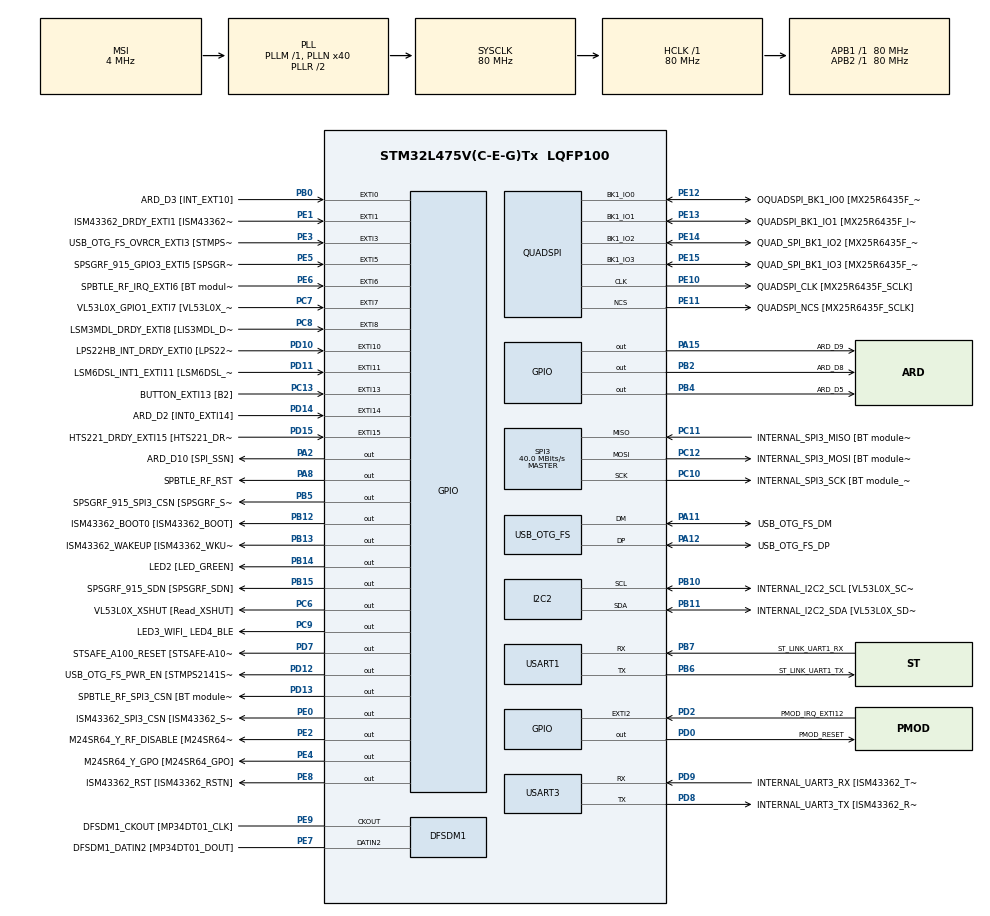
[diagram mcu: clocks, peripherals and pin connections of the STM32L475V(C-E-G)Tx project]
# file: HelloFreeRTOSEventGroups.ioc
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FREERTOS.Tasks01=defaultTask,0,128,StartDefaultTask,Default,NULL,Dynamic,NULL,NULL;myTask02,-3,128,StartTask02,Default,NULL,Dynamic,NULL,NULL
FREERTOS.configTOTAL_HEAP_SIZE=4000
FREERTOS.configUSE_TIMERS=1
Mcu.Family=STM32L4
Mcu.Name=STM32L475V(C-E-G)Tx
Mcu.Package=LQFP100
NVIC.EXTI15_10_IRQn=true\:5\:0\:false\:false\:true\:true\:true\:true
NVIC.EXTI9_5_IRQn=true\:5\:0\:false\:false\:true\:true\:true\:true
NVIC.PriorityGroup=NVIC_PRIORITYGROUP_4
NVIC.TIM1_UP_TIM16_IRQn=true\:15\:0\:false\:false\:true\:false\:false\:true
NVIC.TimeBase=TIM1_UP_TIM16_IRQn
NVIC.TimeBaseIP=TIM1
PA0.GPIO_Label=ARD_D1 [UART4_TX]
PA0.Signal=UART4_TX
PA1.GPIO_Label=ARD_D0 [UART4_RX]
PA1.Signal=UART4_RX
PA10.GPIO_Label=USB_OTG_FS_ID
PA10.Signal=USB_OTG_FS_ID
PA11.GPIO_Label=USB_OTG_FS_DM
PA11.Mode=Device_Only
PA11.Signal=USB_OTG_FS_DM
PA12.GPIO_Label=USB_OTG_FS_DP
PA12.Mode=Device_Only
PA12.Signal=USB_OTG_FS_DP
PA13\ (JTMS-SWDIO).GPIO_Label=SYS_JTMS_SWDIO
PA13\ (JTMS-SWDIO).Mode=Serial_Wire
PA13\ (JTMS-SWDIO).Signal=SYS_JTMS-SWDIO
PA14\ (JTCK-SWCLK).GPIO_Label=SYS_JTCK_SWCLK
PA14\ (JTCK-SWCLK).Mode=Serial_Wire
PA14\ (JTCK-SWCLK).Signal=SYS_JTCK-SWCLK
PA15\ (JTDI).GPIO_Label=ARD_D9
PA15\ (JTDI).Signal=GPIO_Output
PA2.GPIO_Label=ARD_D10 [SPI_SSN]
PA2.Signal=GPIO_Output
PA3.GPIO_Label=ARD_D4
PA3.Signal=S_TIM2_CH4
PA4.GPIO_Label=ARD_D7
PA4.Signal=ADCx_IN9
PA5.GPIO_Label=ARD_D13 [SPI1_SCK]
PA5.Signal=SPI1_SCK
PA6.GPIO_Label=ARD_D12 [SPI1_MISO]
PA6.Signal=SPI1_MISO
PA7.GPIO_Label=ARD_D11 [SPI1_MOSI]
PA7.Signal=SPI1_MOSI
PA8.GPIO_Label=SPBTLE_RF_RST
PA8.Signal=GPIO_Output
PA9.GPIO_Label=USB_OTG_FS_VBUS [STMPS2141STR_OUT]
PA9.Signal=USB_OTG_FS_VBUS
PB0.GPIO_Label=ARD_D3 [INT_EXT10]
PB0.Signal=GPXTI0
PB1.GPIO_Label=ARD_D6 [ADC1_IN6]
PB1.Signal=ADCx_IN16
PB10.GPIO_Label=INTERNAL_I2C2_SCL [VL53L0X_SCL]
PB10.GPIO_Pu=GPIO_PULLUP
PB10.Mode=I2C
PB10.Signal=I2C2_SCL
PB11.GPIO_Label=INTERNAL_I2C2_SDA [VL53L0X_SDA]
PB11.GPIO_Pu=GPIO_PULLUP
PB11.Mode=I2C
PB11.Signal=I2C2_SDA
PB12.GPIO_Label=ISM43362_BOOT0 [ISM43362_BOOT]
PB12.Signal=GPIO_Output
PB13.GPIO_Label=ISM43362_WAKEUP [ISM43362_WKUP]
PB13.Signal=GPIO_Output
PB14.GPIO_Label=LED2 [LED_GREEN]
PB14.Signal=GPIO_Output
PB15.GPIO_Label=SPSGRF_915_SDN [SPSGRF_SDN]
PB15.Signal=GPIO_Output
PB2.GPIO_Label=ARD_D8
PB2.Signal=GPIO_Output
PB3\ (JTDO-TRACESWO).GPIO_Label=SYS_JTD0_SWO
PB3\ (JTDO-TRACESWO).Signal=SYS_JTDO-SWO
PB4\ (NJTRST).GPIO_Label=ARD_D5
PB4\ (NJTRST).Signal=GPIO_Output
PB5.GPIO_Label=SPSGRF_915_SPI3_CSN [SPSGRF_SPI_CS]
PB5.PinState=GPIO_PIN_SET
PB5.Signal=GPIO_Output
PB6.GPIO_Label=ST_LINK_UART1_TX
PB6.Mode=Asynchronous
PB6.Signal=USART1_TX
PB7.GPIO_Label=ST_LINK_UART1_RX
PB7.Mode=Asynchronous
PB7.Signal=USART1_RX
PB8.GPIO_Label=ARD_D15 [I2C1_SCL]
PB8.Signal=I2C1_SCL
PB9.GPIO_Label=ARD_D14 [I2C1_SDA]
PB9.Signal=I2C1_SDA
PC0.GPIO_Label=ARD_A5 [ADC]
PC0.Signal=ADCx_IN1
PC1.GPIO_Label=ARD_A4 [ADC]
PC1.Signal=ADCx_IN2
PC10.GPIO_Label=INTERNAL_SPI3_SCK [BT module_SPI_SCLK] [ISM43362_SCK]
PC10.Mode=Full_Duplex_Master
PC10.Signal=SPI3_SCK
PC11.GPIO_Label=INTERNAL_SPI3_MISO [BT module_SPI_MISO] [ISM43362_MISO]
PC11.Mode=Full_Duplex_Master
PC11.Signal=SPI3_MISO
PC12.GPIO_Label=INTERNAL_SPI3_MOSI [BT module_SPI_MOSI] [ISM43362_MOSI]
PC12.Mode=Full_Duplex_Master
PC12.Signal=SPI3_MOSI
PC13.GPIO_Label=BUTTON_EXTI13 [B2]
PC13.GPIO_ModeDefaultEXTI=GPIO_MODE_IT_FALLING
PC13.Signal=GPXTI13
PC14-OSC32_IN\ (PC14).Mode=LSE-External-Oscillator
PC14-OSC32_IN\ (PC14).Signal=RCC_OSC32_IN
PC15-OSC32_OUT\ (PC15).Mode=LSE-External-Oscillator
PC15-OSC32_OUT\ (PC15).Signal=RCC_OSC32_OUT
PC2.GPIO_Label=ARD_A3 [ADC]
PC2.Signal=ADCx_IN3
PC3.GPIO_Label=ARD_A2 [ADC]
PC3.Signal=ADCx_IN4
PC4.GPIO_Label=ARD_A1 [ADC]
PC4.Signal=ADCx_IN13
PC5.GPIO_Label=ARD_A0 [ADC]
PC5.Signal=ADCx_IN14
PC6.GPIO_Label=VL53L0X_XSHUT [Read_XSHUT]
PC6.Signal=GPIO_Output
PC7.GPIO_Label=VL53L0X_GPIO1_EXTI7 [VL53L0X_GPIO1]
PC7.Signal=GPXTI7
PC8.GPIO_Label=LSM3MDL_DRDY_EXTI8 [LIS3MDL_DRDY]
PC8.Signal=GPXTI8
PC9.GPIO_Label=LED3_WIFI_ LED4_BLE
PC9.Signal=GPIO_Output
PD0.GPIO_Label=PMOD_RESET
PD0.Signal=GPIO_Output
PD1.GPIO_Label=PMOD_SPI2_SCK
PD1.Signal=SPI2_SCK
PD10.GPIO_Label=LPS22HB_INT_DRDY_EXTI0 [LPS22HB_INT_DRDY] 
PD10.Signal=GPXTI10
PD11.GPIO_Label=LSM6DSL_INT1_EXTI11 [LSM6DSL_INT1]
PD11.Signal=GPXTI11
PD12.GPIO_Label=USB_OTG_FS_PWR_EN [STMPS2141STR_EN]
PD12.Signal=GPIO_Output
PD13.GPIO_Label=SPBTLE_RF_SPI3_CSN [BT module_SPI_CS]
PD13.PinState=GPIO_PIN_SET
PD13.Signal=GPIO_Output
PD14.GPIO_Label=ARD_D2 [INT0_EXTI14]
PD14.Signal=GPXTI14
PD15.GPIO_Label=HTS221_DRDY_EXTI15 [HTS221_DRDY]
PD15.Signal=GPXTI15
PD2.GPIO_Label=PMOD_IRQ_EXTI12
PD2.Signal=GPXTI2
PD3.GPIO_Label=PMOD_UART2_CTS
PD3.Signal=USART2_CTS
PD4.GPIO_Label=PMOD_UART2_RTS
PD4.Signal=USART2_RTS
PD5.GPIO_Label=PMOD_UART2_TX
PD5.Signal=USART2_TX
PD6.GPIO_Label=PMOD_UART2_RX
PD6.Signal=USART2_RX
PD7.GPIO_Label=STSAFE_A100_RESET [STSAFE-A100_RESET]
PD7.Signal=GPIO_Output
PD8.GPIO_Label=INTERNAL_UART3_TX [ISM43362_RX]
PD8.Mode=Asynchronous
PD8.Signal=USART3_TX
PD9.GPIO_Label=INTERNAL_UART3_RX [ISM43362_TX]
PD9.Mode=Asynchronous
PD9.Signal=USART3_RX
PE0.GPIO_Label=ISM43362_SPI3_CSN [ISM43362_SSN]
PE0.PinState=GPIO_PIN_SET
PE0.Signal=GPIO_Output
PE1.GPIO_Label=ISM43362_DRDY_EXTI1 [ISM43362_DATARDY]
PE1.Signal=GPXTI1
PE10.GPIO_Label=QUADSPI_CLK [MX25R6435F_SCLK]
PE10.Mode=Single Bank
PE10.Signal=QUADSPI_CLK
PE11.GPIO_Label=QUADSPI_NCS [MX25R6435F_SCLK]
PE11.Mode=Single Bank
PE11.Signal=QUADSPI_NCS
PE12.GPIO_Label=OQUADSPI_BK1_IO0 [MX25R6435F_IO0]
PE12.Mode=Single Bank
PE12.Signal=QUADSPI_BK1_IO0
PE13.GPIO_Label=QUADSPI_BK1_IO1 [MX25R6435F_IO1]
PE13.Mode=Single Bank
PE13.Signal=QUADSPI_BK1_IO1
PE14.GPIO_Label=QUAD_SPI_BK1_IO2 [MX25R6435F_IO2]
PE14.Mode=Single Bank
PE14.Signal=QUADSPI_BK1_IO2
PE15.GPIO_Label=QUAD_SPI_BK1_IO3 [MX25R6435F_IO3]
PE15.Mode=Single Bank
PE15.Signal=QUADSPI_BK1_IO3
PE2.GPIO_Label=M24SR64_Y_RF_DISABLE [M24SR64_RFDIS]
PE2.Signal=GPIO_Output
PE3.GPIO_Label=USB_OTG_FS_OVRCR_EXTI3 [STMPS2141STR_FAULT]
PE3.Signal=GPXTI3
PE4.GPIO_Label=M24SR64_Y_GPO [M24SR64_GPO]
PE4.Signal=GPIO_Output
PE5.GPIO_Label=SPSGRF_915_GPIO3_EXTI5 [SPSGRF_GPIO_3]
PE5.Signal=GPXTI5
PE6.GPIO_Label=SPBTLE_RF_IRQ_EXTI6 [BT module_SPI_IRQ]
PE6.Signal=GPXTI6
PE7.GPIO_Label=DFSDM1_DATIN2 [MP34DT01_DOUT]
PE7.Signal=S_DATAIN2DFSDM1
PE8.GPIO_Label=ISM43362_RST [ISM43362_RSTN]
PE8.Signal=GPIO_Output
PE9.GPIO_Label=DFSDM1_CKOUT [MP34DT01_CLK]
PE9.Signal=S_CKOUTDFSDM1
ProjectManager.HeapSize=0x200
ProjectManager.StackSize=0x400
ProjectManager.TargetToolchain=STM32CubeIDE
QUADSPI.ClockPrescaler=2
QUADSPI.FifoThreshold=4
QUADSPI.FlashSize=23
QUADSPI.SampleShifting=QSPI_SAMPLE_SHIFTING_HALFCYCLE
RCC.ADCFreq_Value=48000000
RCC.AHBFreq_Value=80000000
RCC.APB1Freq_Value=80000000
RCC.APB1TimFreq_Value=80000000
RCC.APB2Freq_Value=80000000
RCC.APB2TimFreq_Value=80000000
RCC.CortexFreq_Value=80000000
RCC.HCLKFreq_Value=80000000
RCC.HSE_VALUE=8000000
RCC.HSI_VALUE=16000000
RCC.MSI_VALUE=4000000
RCC.PLLN=40
RCC.PLLSAI1N=24
RCC.SYSCLKFreq_VALUE=80000000
RCC.SYSCLKSource=RCC_SYSCLKSOURCE_PLLCLK
RCC.USBFreq_Value=48000000
RCC.VCOOutputFreq_Value=160000000
SH.ADCx_IN1.0=ADC1_IN1
SH.ADCx_IN13.0=ADC1_IN13
SH.ADCx_IN14.0=ADC1_IN14
SH.ADCx_IN16.0=ADC1_IN16
SH.ADCx_IN2.0=ADC1_IN2
SH.ADCx_IN3.0=ADC1_IN3
SH.ADCx_IN4.0=ADC1_IN4
SH.ADCx_IN9.0=ADC1_IN9
SH.S_CKOUTDFSDM1.0=DFSDM1_CKOUT,CKOUT
SH.S_CKOUTDFSDM1.1=DFSDM1_CKOUT,PDM_SPI_Input_from_ch12_and_Internal_Clock
SH.S_DATAIN2DFSDM1.0=DFSDM1_DATIN2,PDM_SPI_Input_from_ch12_and_Internal_Clock
SH.S_TIM2_CH4.0=TIM2_CH4
SPI3.CalculateBaudRate=40.0 MBits/s
SPI3.Direction=SPI_DIRECTION_2LINES
SPI3.Mode=SPI_MODE_MASTER
SPI3.VirtualType=VM_MASTER
USART1.VirtualMode-Asynchronous=VM_ASYNC
USART3.VirtualMode-Asynchronous=VM_ASYNC
USB_OTG_FS.VirtualMode=Device_Only
VP_FREERTOS_VS_CMSIS_V1.Mode=CMSIS_V1
VP_SYS_VS_tim1.Mode=TIM1
board=B-L475E-IOT01A1

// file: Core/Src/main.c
/* USER CODE BEGIN Header */
/**
 ******************************************************************************
 * @file           : main.c
 * @brief          : Main program body
 ******************************************************************************
 * @attention
 *
 * <h2><center>&copy; Copyright (c) 2021 STMicroelectronics.
 * All rights reserved.</center></h2>
 *
 * This software component is licensed by ST under BSD 3-Clause license,
 * the "License"; You may not use this file except in compliance with the
 * License. You may obtain a copy of the License at:
 *                        opensource.org/licenses/BSD-3-Clause
 *
 ******************************************************************************
 */
/* USER CODE END Header */
#include "main.h"
#include "cmsis_os.h"

/* USER CODE BEGIN Includes */
#define mainISR_BIT ( 1UL << 0UL )
#define mainTASK_BIT_1 ( 1UL << 1UL )
#define mainTASK_BIT_2 ( 1UL << 2UL )
/* USER CODE END Includes */

DFSDM_Channel_HandleTypeDef hdfsdm1_channel1;

I2C_HandleTypeDef hi2c2;

QSPI_HandleTypeDef hqspi;

SPI_HandleTypeDef hspi3;

UART_HandleTypeDef huart1;
UART_HandleTypeDef huart3;

PCD_HandleTypeDef hpcd_USB_OTG_FS;

osThreadId defaultTaskHandle;
osThreadId myTask02Handle;
/* USER CODE BEGIN PV */
EventGroupHandle_t xEventGroup;
/* USER CODE END PV */

void SystemClock_Config(void);
static void MX_GPIO_Init(void);
static void MX_DFSDM1_Init(void);
static void MX_I2C2_Init(void);
static void MX_QUADSPI_Init(void);
static void MX_SPI3_Init(void);
static void MX_USART1_UART_Init(void);
static void MX_USART3_UART_Init(void);
static void MX_USB_OTG_FS_PCD_Init(void);
void StartDefaultTask(void const *argument);
void StartTask02(void const *argument);

int main(void) {
    /* USER CODE BEGIN 1 */
    xEventGroup = xEventGroupCreate();
    /* USER CODE END 1 */

    /* MCU Configuration--------------------------------------------------------*/

    /* Reset of all peripherals, Initializes the Flash interface and the Systick. */
    HAL_Init();

    /* Configure the system clock */
    SystemClock_Config();

    /* Initialize all configured peripherals */
    MX_GPIO_Init();
    MX_DFSDM1_Init();
    MX_I2C2_Init();
    MX_QUADSPI_Init();
    MX_SPI3_Init();
    MX_USART1_UART_Init();
    MX_USART3_UART_Init();
    MX_USB_OTG_FS_PCD_Init();

    /* Create the thread(s) */
    /* definition and creation of defaultTask */
    osThreadDef(defaultTask, StartDefaultTask, osPriorityNormal, 0, 128);
    defaultTaskHandle = osThreadCreate(osThread(defaultTask), NULL);

    /* definition and creation of myTask02 */
    osThreadDef(myTask02, StartTask02, osPriorityIdle, 0, 128);
    myTask02Handle = osThreadCreate(osThread(myTask02), NULL);

    /* Start scheduler */
    osKernelStart();

    /* We should never get here as control is now taken by the scheduler */
    /* Infinite loop */
    while (1) {

    }
}

void SystemClock_Config(void) {
    RCC_OscInitTypeDef RCC_OscInitStruct = { 0 };
    RCC_ClkInitTypeDef RCC_ClkInitStruct = { 0 };

    /** Configure the main internal regulator output voltage
     */
    if (HAL_PWREx_ControlVoltageScaling(PWR_REGULATOR_VOLTAGE_SCALE1) != HAL_OK) {
        Error_Handler();
    }
    /** Configure LSE Drive Capability
     */
    HAL_PWR_EnableBkUpAccess();
    __HAL_RCC_LSEDRIVE_CONFIG(RCC_LSEDRIVE_LOW);
    /** Initializes the RCC Oscillators according to the specified parameters
     * in the RCC_OscInitTypeDef structure.
     */
    RCC_OscInitStruct.OscillatorType = RCC_OSCILLATORTYPE_LSE | RCC_OSCILLATORTYPE_MSI;
    RCC_OscInitStruct.LSEState = RCC_LSE_ON;
    RCC_OscInitStruct.MSIState = RCC_MSI_ON;
    RCC_OscInitStruct.MSICalibrationValue = 0;
    RCC_OscInitStruct.MSIClockRange = RCC_MSIRANGE_6;
    RCC_OscInitStruct.PLL.PLLState = RCC_PLL_ON;
    RCC_OscInitStruct.PLL.PLLSource = RCC_PLLSOURCE_MSI;
    RCC_OscInitStruct.PLL.PLLM = 1;
    RCC_OscInitStruct.PLL.PLLN = 40;
    RCC_OscInitStruct.PLL.PLLP = RCC_PLLP_DIV7;
    RCC_OscInitStruct.PLL.PLLQ = RCC_PLLQ_DIV2;
    RCC_OscInitStruct.PLL.PLLR = RCC_PLLR_DIV2;
    if (HAL_RCC_OscConfig(&RCC_OscInitStruct) != HAL_OK) {
        Error_Handler();
    }
    /** Initializes the CPU, AHB and APB buses clocks
     */
    RCC_ClkInitStruct.ClockType = RCC_CLOCKTYPE_HCLK | RCC_CLOCKTYPE_SYSCLK | RCC_CLOCKTYPE_PCLK1 | RCC_CLOCKTYPE_PCLK2;
    RCC_ClkInitStruct.SYSCLKSource = RCC_SYSCLKSOURCE_PLLCLK;
    RCC_ClkInitStruct.AHBCLKDivider = RCC_SYSCLK_DIV1;
    RCC_ClkInitStruct.APB1CLKDivider = RCC_HCLK_DIV1;
    RCC_ClkInitStruct.APB2CLKDivider = RCC_HCLK_DIV1;

    if (HAL_RCC_ClockConfig(&RCC_ClkInitStruct, FLASH_LATENCY_4) != HAL_OK) {
        Error_Handler();
    }
    /** Enable MSI Auto calibration
     */
    HAL_RCCEx_EnableMSIPLLMode();
}

static void MX_DFSDM1_Init(void) {

    hdfsdm1_channel1.Instance = DFSDM1_Channel1;
    hdfsdm1_channel1.Init.OutputClock.Activation = ENABLE;
    hdfsdm1_channel1.Init.OutputClock.Selection = DFSDM_CHANNEL_OUTPUT_CLOCK_SYSTEM;
    hdfsdm1_channel1.Init.OutputClock.Divider = 2;
    hdfsdm1_channel1.Init.Input.Multiplexer = DFSDM_CHANNEL_EXTERNAL_INPUTS;
    hdfsdm1_channel1.Init.Input.DataPacking = DFSDM_CHANNEL_STANDARD_MODE;
    hdfsdm1_channel1.Init.Input.Pins = DFSDM_CHANNEL_FOLLOWING_CHANNEL_PINS;
    hdfsdm1_channel1.Init.SerialInterface.Type = DFSDM_CHANNEL_SPI_RISING;
    hdfsdm1_channel1.Init.SerialInterface.SpiClock = DFSDM_CHANNEL_SPI_CLOCK_INTERNAL;
    hdfsdm1_channel1.Init.Awd.FilterOrder = DFSDM_CHANNEL_FASTSINC_ORDER;
    hdfsdm1_channel1.Init.Awd.Oversampling = 1;
    hdfsdm1_channel1.Init.Offset = 0;
    hdfsdm1_channel1.Init.RightBitShift = 0x00;
    if (HAL_DFSDM_ChannelInit(&hdfsdm1_channel1) != HAL_OK) {
        Error_Handler();
    }

}

static void MX_I2C2_Init(void) {

    hi2c2.Instance = I2C2;
    hi2c2.Init.Timing = 0x00000E14;
    hi2c2.Init.OwnAddress1 = 0;
    hi2c2.Init.AddressingMode = I2C_ADDRESSINGMODE_7BIT;
    hi2c2.Init.DualAddressMode = I2C_DUALADDRESS_DISABLE;
    hi2c2.Init.OwnAddress2 = 0;
    hi2c2.Init.OwnAddress2Masks = I2C_OA2_NOMASK;
    hi2c2.Init.GeneralCallMode = I2C_GENERALCALL_DISABLE;
    hi2c2.Init.NoStretchMode = I2C_NOSTRETCH_DISABLE;
    if (HAL_I2C_Init(&hi2c2) != HAL_OK) {
        Error_Handler();
    }
    /** Configure Analogue filter
     */
    if (HAL_I2CEx_ConfigAnalogFilter(&hi2c2, I2C_ANALOGFILTER_ENABLE) != HAL_OK) {
        Error_Handler();
    }
    /** Configure Digital filter
     */
    if (HAL_I2CEx_ConfigDigitalFilter(&hi2c2, 0) != HAL_OK) {
        Error_Handler();
    }

}

static void MX_QUADSPI_Init(void) {

    /* QUADSPI parameter configuration*/
    hqspi.Instance = QUADSPI;
    hqspi.Init.ClockPrescaler = 2;
    hqspi.Init.FifoThreshold = 4;
    hqspi.Init.SampleShifting = QSPI_SAMPLE_SHIFTING_HALFCYCLE;
    hqspi.Init.FlashSize = 23;
    hqspi.Init.ChipSelectHighTime = QSPI_CS_HIGH_TIME_1_CYCLE;
    hqspi.Init.ClockMode = QSPI_CLOCK_MODE_0;
    if (HAL_QSPI_Init(&hqspi) != HAL_OK) {
        Error_Handler();
    }

}

static void MX_SPI3_Init(void) {

    /* SPI3 parameter configuration*/
    hspi3.Instance = SPI3;
    hspi3.Init.Mode = SPI_MODE_MASTER;
    hspi3.Init.Direction = SPI_DIRECTION_2LINES;
    hspi3.Init.DataSize = SPI_DATASIZE_4BIT;
    hspi3.Init.CLKPolarity = SPI_POLARITY_LOW;
    hspi3.Init.CLKPhase = SPI_PHASE_1EDGE;
    hspi3.Init.NSS = SPI_NSS_SOFT;
    hspi3.Init.BaudRatePrescaler = SPI_BAUDRATEPRESCALER_2;
    hspi3.Init.FirstBit = SPI_FIRSTBIT_MSB;
    hspi3.Init.TIMode = SPI_TIMODE_DISABLE;
    hspi3.Init.CRCCalculation = SPI_CRCCALCULATION_DISABLE;
    hspi3.Init.CRCPolynomial = 7;
    hspi3.Init.CRCLength = SPI_CRC_LENGTH_DATASIZE;
    hspi3.Init.NSSPMode = SPI_NSS_PULSE_ENABLE;
    if (HAL_SPI_Init(&hspi3) != HAL_OK) {
        Error_Handler();
    }

}

static void MX_USART1_UART_Init(void) {

    huart1.Instance = USART1;
    huart1.Init.BaudRate = 115200;
    huart1.Init.WordLength = UART_WORDLENGTH_8B;
    huart1.Init.StopBits = UART_STOPBITS_1;
    huart1.Init.Parity = UART_PARITY_NONE;
    huart1.Init.Mode = UART_MODE_TX_RX;
    huart1.Init.HwFlowCtl = UART_HWCONTROL_NONE;
    huart1.Init.OverSampling = UART_OVERSAMPLING_16;
    huart1.Init.OneBitSampling = UART_ONE_BIT_SAMPLE_DISABLE;
    huart1.AdvancedInit.AdvFeatureInit = UART_ADVFEATURE_NO_INIT;
    if (HAL_UART_Init(&huart1) != HAL_OK) {
        Error_Handler();
    }

}

static void MX_USART3_UART_Init(void) {

    huart3.Instance = USART3;
    huart3.Init.BaudRate = 115200;
    huart3.Init.WordLength = UART_WORDLENGTH_8B;
    huart3.Init.StopBits = UART_STOPBITS_1;
    huart3.Init.Parity = UART_PARITY_NONE;
    huart3.Init.Mode = UART_MODE_TX_RX;
    huart3.Init.HwFlowCtl = UART_HWCONTROL_NONE;
    huart3.Init.OverSampling = UART_OVERSAMPLING_16;
    huart3.Init.OneBitSampling = UART_ONE_BIT_SAMPLE_DISABLE;
    huart3.AdvancedInit.AdvFeatureInit = UART_ADVFEATURE_NO_INIT;
    if (HAL_UART_Init(&huart3) != HAL_OK) {
        Error_Handler();
    }

}

static void MX_USB_OTG_FS_PCD_Init(void) {

    hpcd_USB_OTG_FS.Instance = USB_OTG_FS;
    hpcd_USB_OTG_FS.Init.dev_endpoints = 6;
    hpcd_USB_OTG_FS.Init.speed = PCD_SPEED_FULL;
    hpcd_USB_OTG_FS.Init.phy_itface = PCD_PHY_EMBEDDED;
    hpcd_USB_OTG_FS.Init.Sof_enable = DISABLE;
    hpcd_USB_OTG_FS.Init.low_power_enable = DISABLE;
    hpcd_USB_OTG_FS.Init.lpm_enable = DISABLE;
    hpcd_USB_OTG_FS.Init.battery_charging_enable = DISABLE;
    hpcd_USB_OTG_FS.Init.use_dedicated_ep1 = DISABLE;
    hpcd_USB_OTG_FS.Init.vbus_sensing_enable = DISABLE;
    if (HAL_PCD_Init(&hpcd_USB_OTG_FS) != HAL_OK) {
        Error_Handler();
    }

}

static void MX_GPIO_Init(void) {
    GPIO_InitTypeDef GPIO_InitStruct = { 0 };

    /* GPIO Ports Clock Enable */
    __HAL_RCC_GPIOE_CLK_ENABLE();
    __HAL_RCC_GPIOC_CLK_ENABLE();
    __HAL_RCC_GPIOA_CLK_ENABLE();
    __HAL_RCC_GPIOB_CLK_ENABLE();
    __HAL_RCC_GPIOD_CLK_ENABLE();

    /*Configure GPIO pin Output Level */
    HAL_GPIO_WritePin(GPIOE, M24SR64_Y_RF_DISABLE_Pin | M24SR64_Y_GPO_Pin | ISM43362_RST_Pin, GPIO_PIN_RESET);

    /*Configure GPIO pin Output Level */
    HAL_GPIO_WritePin(GPIOA, ARD_D10_Pin | SPBTLE_RF_RST_Pin | ARD_D9_Pin, GPIO_PIN_RESET);

    /*Configure GPIO pin Output Level */
    HAL_GPIO_WritePin(GPIOB,
    ARD_D8_Pin | ISM43362_BOOT0_Pin | ISM43362_WAKEUP_Pin | LED2_Pin | SPSGRF_915_SDN_Pin | ARD_D5_Pin, GPIO_PIN_RESET);

    /*Configure GPIO pin Output Level */
    HAL_GPIO_WritePin(GPIOD, USB_OTG_FS_PWR_EN_Pin | PMOD_RESET_Pin | STSAFE_A100_RESET_Pin, GPIO_PIN_RESET);

    /*Configure GPIO pin Output Level */
    HAL_GPIO_WritePin(SPBTLE_RF_SPI3_CSN_GPIO_Port, SPBTLE_RF_SPI3_CSN_Pin, GPIO_PIN_SET);

    /*Configure GPIO pin Output Level */
    HAL_GPIO_WritePin(GPIOC, VL53L0X_XSHUT_Pin | LED3_WIFI__LED4_BLE_Pin, GPIO_PIN_RESET);

    /*Configure GPIO pin Output Level */
    HAL_GPIO_WritePin(SPSGRF_915_SPI3_CSN_GPIO_Port, SPSGRF_915_SPI3_CSN_Pin, GPIO_PIN_SET);

    /*Configure GPIO pin Output Level */
    HAL_GPIO_WritePin(ISM43362_SPI3_CSN_GPIO_Port, ISM43362_SPI3_CSN_Pin, GPIO_PIN_SET);

    /*Configure GPIO pins : M24SR64_Y_RF_DISABLE_Pin M24SR64_Y_GPO_Pin ISM43362_RST_Pin ISM43362_SPI3_CSN_Pin */
    GPIO_InitStruct.Pin = M24SR64_Y_RF_DISABLE_Pin | M24SR64_Y_GPO_Pin | ISM43362_RST_Pin | ISM43362_SPI3_CSN_Pin;
    GPIO_InitStruct.Mode = GPIO_MODE_OUTPUT_PP;
    GPIO_InitStruct.Pull = GPIO_NOPULL;
    GPIO_InitStruct.Speed = GPIO_SPEED_FREQ_LOW;
    HAL_GPIO_Init(GPIOE, &GPIO_InitStruct);

    /*Configure GPIO pins : USB_OTG_FS_OVRCR_EXTI3_Pin SPSGRF_915_GPIO3_EXTI5_Pin SPBTLE_RF_IRQ_EXTI6_Pin ISM43362_DRDY_EXTI1_Pin */
    GPIO_InitStruct.Pin = USB_OTG_FS_OVRCR_EXTI3_Pin | SPSGRF_915_GPIO3_EXTI5_Pin | SPBTLE_RF_IRQ_EXTI6_Pin
            | ISM43362_DRDY_EXTI1_Pin;
    GPIO_InitStruct.Mode = GPIO_MODE_IT_RISING;
    GPIO_InitStruct.Pull = GPIO_NOPULL;
    HAL_GPIO_Init(GPIOE, &GPIO_InitStruct);

    /*Configure GPIO pin : BUTTON_EXTI13_Pin */
    GPIO_InitStruct.Pin = BUTTON_EXTI13_Pin;
    GPIO_InitStruct.Mode = GPIO_MODE_IT_FALLING;
    GPIO_InitStruct.Pull = GPIO_NOPULL;
    HAL_GPIO_Init(BUTTON_EXTI13_GPIO_Port, &GPIO_InitStruct);

    /*Configure GPIO pins : ARD_A5_Pin ARD_A4_Pin ARD_A3_Pin ARD_A2_Pin
     ARD_A1_Pin ARD_A0_Pin */
    GPIO_InitStruct.Pin = ARD_A5_Pin | ARD_A4_Pin | ARD_A3_Pin | ARD_A2_Pin | ARD_A1_Pin | ARD_A0_Pin;
    GPIO_InitStruct.Mode = GPIO_MODE_ANALOG_ADC_CONTROL;
    GPIO_InitStruct.Pull = GPIO_NOPULL;
    HAL_GPIO_Init(GPIOC, &GPIO_InitStruct);

    /*Configure GPIO pins : ARD_D1_Pin ARD_D0_Pin */
    GPIO_InitStruct.Pin = ARD_D1_Pin | ARD_D0_Pin;
    GPIO_InitStruct.Mode = GPIO_MODE_AF_PP;
    GPIO_InitStruct.Pull = GPIO_NOPULL;
    GPIO_InitStruct.Speed = GPIO_SPEED_FREQ_VERY_HIGH;
    GPIO_InitStruct.Alternate = GPIO_AF8_UART4;
    HAL_GPIO_Init(GPIOA, &GPIO_InitStruct);

    /*Configure GPIO pins : ARD_D10_Pin SPBTLE_RF_RST_Pin ARD_D9_Pin */
    GPIO_InitStruct.Pin = ARD_D10_Pin | SPBTLE_RF_RST_Pin | ARD_D9_Pin;
    GPIO_InitStruct.Mode = GPIO_MODE_OUTPUT_PP;
    GPIO_InitStruct.Pull = GPIO_NOPULL;
    GPIO_InitStruct.Speed = GPIO_SPEED_FREQ_LOW;
    HAL_GPIO_Init(GPIOA, &GPIO_InitStruct);

    /*Configure GPIO pin : ARD_D4_Pin */
    GPIO_InitStruct.Pin = ARD_D4_Pin;
    GPIO_InitStruct.Mode = GPIO_MODE_AF_PP;
    GPIO_InitStruct.Pull = GPIO_NOPULL;
    GPIO_InitStruct.Speed = GPIO_SPEED_FREQ_LOW;
    GPIO_InitStruct.Alternate = GPIO_AF1_TIM2;
    HAL_GPIO_Init(ARD_D4_GPIO_Port, &GPIO_InitStruct);

    /*Configure GPIO pin : ARD_D7_Pin */
    GPIO_InitStruct.Pin = ARD_D7_Pin;
    GPIO_InitStruct.Mode = GPIO_MODE_ANALOG_ADC_CONTROL;
    GPIO_InitStruct.Pull = GPIO_NOPULL;
    HAL_GPIO_Init(ARD_D7_GPIO_Port, &GPIO_InitStruct);

    /*Configure GPIO pins : ARD_D13_Pin ARD_D12_Pin ARD_D11_Pin */
    GPIO_InitStruct.Pin = ARD_D13_Pin | ARD_D12_Pin | ARD_D11_Pin;
    GPIO_InitStruct.Mode = GPIO_MODE_AF_PP;
    GPIO_InitStruct.Pull = GPIO_NOPULL;
    GPIO_InitStruct.Speed = GPIO_SPEED_FREQ_VERY_HIGH;
    GPIO_InitStruct.Alternate = GPIO_AF5_SPI1;
    HAL_GPIO_Init(GPIOA, &GPIO_InitStruct);

    /*Configure GPIO pin : ARD_D3_Pin */
    GPIO_InitStruct.Pin = ARD_D3_Pin;
    GPIO_InitStruct.Mode = GPIO_MODE_IT_RISING;
    GPIO_InitStruct.Pull = GPIO_NOPULL;
    HAL_GPIO_Init(ARD_D3_GPIO_Port, &GPIO_InitStruct);

    /*Configure GPIO pin : ARD_D6_Pin */
    GPIO_InitStruct.Pin = ARD_D6_Pin;
    GPIO_InitStruct.Mode = GPIO_MODE_ANALOG_ADC_CONTROL;
    GPIO_InitStruct.Pull = GPIO_NOPULL;
    HAL_GPIO_Init(ARD_D6_GPIO_Port, &GPIO_InitStruct);

    /*Configure GPIO pins : ARD_D8_Pin ISM43362_BOOT0_Pin ISM43362_WAKEUP_Pin LED2_Pin
     SPSGRF_915_SDN_Pin ARD_D5_Pin SPSGRF_915_SPI3_CSN_Pin */
    GPIO_InitStruct.Pin = ARD_D8_Pin | ISM43362_BOOT0_Pin | ISM43362_WAKEUP_Pin | LED2_Pin | SPSGRF_915_SDN_Pin
            | ARD_D5_Pin | SPSGRF_915_SPI3_CSN_Pin;
    GPIO_InitStruct.Mode = GPIO_MODE_OUTPUT_PP;
    GPIO_InitStruct.Pull = GPIO_NOPULL;
    GPIO_InitStruct.Speed = GPIO_SPEED_FREQ_LOW;
    HAL_GPIO_Init(GPIOB, &GPIO_InitStruct);

    /*Configure GPIO pins : LPS22HB_INT_DRDY_EXTI0_Pin LSM6DSL_INT1_EXTI11_Pin ARD_D2_Pin HTS221_DRDY_EXTI15_Pin
     PMOD_IRQ_EXTI12_Pin */
    GPIO_InitStruct.Pin = LPS22HB_INT_DRDY_EXTI0_Pin | LSM6DSL_INT1_EXTI11_Pin | ARD_D2_Pin | HTS221_DRDY_EXTI15_Pin
            | PMOD_IRQ_EXTI12_Pin;
    GPIO_InitStruct.Mode = GPIO_MODE_IT_RISING;
    GPIO_InitStruct.Pull = GPIO_NOPULL;
    HAL_GPIO_Init(GPIOD, &GPIO_InitStruct);

    /*Configure GPIO pins : USB_OTG_FS_PWR_EN_Pin SPBTLE_RF_SPI3_CSN_Pin PMOD_RESET_Pin STSAFE_A100_RESET_Pin */
    GPIO_InitStruct.Pin = USB_OTG_FS_PWR_EN_Pin | SPBTLE_RF_SPI3_CSN_Pin | PMOD_RESET_Pin | STSAFE_A100_RESET_Pin;
    GPIO_InitStruct.Mode = GPIO_MODE_OUTPUT_PP;
    GPIO_InitStruct.Pull = GPIO_NOPULL;
    GPIO_InitStruct.Speed = GPIO_SPEED_FREQ_LOW;
    HAL_GPIO_Init(GPIOD, &GPIO_InitStruct);

    /*Configure GPIO pins : VL53L0X_XSHUT_Pin LED3_WIFI__LED4_BLE_Pin */
    GPIO_InitStruct.Pin = VL53L0X_XSHUT_Pin | LED3_WIFI__LED4_BLE_Pin;
    GPIO_InitStruct.Mode = GPIO_MODE_OUTPUT_PP;
    GPIO_InitStruct.Pull = GPIO_NOPULL;
    GPIO_InitStruct.Speed = GPIO_SPEED_FREQ_LOW;
    HAL_GPIO_Init(GPIOC, &GPIO_InitStruct);

    /*Configure GPIO pins : VL53L0X_GPIO1_EXTI7_Pin LSM3MDL_DRDY_EXTI8_Pin */
    GPIO_InitStruct.Pin = VL53L0X_GPIO1_EXTI7_Pin | LSM3MDL_DRDY_EXTI8_Pin;
    GPIO_InitStruct.Mode = GPIO_MODE_IT_RISING;
    GPIO_InitStruct.Pull = GPIO_NOPULL;
    HAL_GPIO_Init(GPIOC, &GPIO_InitStruct);

    /*Configure GPIO pin : PMOD_SPI2_SCK_Pin */
    GPIO_InitStruct.Pin = PMOD_SPI2_SCK_Pin;
    GPIO_InitStruct.Mode = GPIO_MODE_AF_PP;
    GPIO_InitStruct.Pull = GPIO_NOPULL;
    GPIO_InitStruct.Speed = GPIO_SPEED_FREQ_VERY_HIGH;
    GPIO_InitStruct.Alternate = GPIO_AF5_SPI2;
    HAL_GPIO_Init(PMOD_SPI2_SCK_GPIO_Port, &GPIO_InitStruct);

    /*Configure GPIO pins : PMOD_UART2_CTS_Pin PMOD_UART2_RTS_Pin PMOD_UART2_TX_Pin PMOD_UART2_RX_Pin */
    GPIO_InitStruct.Pin = PMOD_UART2_CTS_Pin | PMOD_UART2_RTS_Pin | PMOD_UART2_TX_Pin | PMOD_UART2_RX_Pin;
    GPIO_InitStruct.Mode = GPIO_MODE_AF_PP;
    GPIO_InitStruct.Pull = GPIO_NOPULL;
    GPIO_InitStruct.Speed = GPIO_SPEED_FREQ_VERY_HIGH;
    GPIO_InitStruct.Alternate = GPIO_AF7_USART2;
    HAL_GPIO_Init(GPIOD, &GPIO_InitStruct);

    /*Configure GPIO pins : ARD_D15_Pin ARD_D14_Pin */
    GPIO_InitStruct.Pin = ARD_D15_Pin | ARD_D14_Pin;
    GPIO_InitStruct.Mode = GPIO_MODE_AF_OD;
    GPIO_InitStruct.Pull = GPIO_NOPULL;
    GPIO_InitStruct.Speed = GPIO_SPEED_FREQ_VERY_HIGH;
    GPIO_InitStruct.Alternate = GPIO_AF4_I2C1;
    HAL_GPIO_Init(GPIOB, &GPIO_InitStruct);

    /* EXTI interrupt init*/
    HAL_NVIC_SetPriority(EXTI9_5_IRQn, 5, 0);
    HAL_NVIC_EnableIRQ(EXTI9_5_IRQn);

    HAL_NVIC_SetPriority(EXTI15_10_IRQn, 5, 0);
    HAL_NVIC_EnableIRQ(EXTI15_10_IRQn);

}

/* USER CODE BEGIN 4 */
/**
 * @brief  EXTI line detection callback.
 * @param  GPIO_Pin Specifies the port pin connected to corresponding EXTI line.
 * @retval None
 */
void HAL_GPIO_EXTI_Callback(uint16_t GPIO_Pin) {
    /* Prevent unused argument(s) compilation warning */

    BaseType_t xHigherPriorityTaskWoken = pdFALSE;
    BaseType_t xResult = xEventGroupSetBitsFromISR(xEventGroup, mainISR_BIT, &xHigherPriorityTaskWoken);

    if (xResult == pdTRUE) {
        portYIELD_FROM_ISR(xHigherPriorityTaskWoken);
    }
}
/* USER CODE END 4 */

void StartDefaultTask(void const *argument) {
    /* USER CODE BEGIN 5 */
    /* Infinite loop */
    for (;;) {
        xEventGroupWaitBits(xEventGroup,
        mainISR_BIT,
        pdFALSE,
        pdTRUE,
        portMAX_DELAY);

        // Delay a while, then et another event group bit
        vTaskDelay(pdMS_TO_TICKS(1000));
        xEventGroupSetBits(xEventGroup, mainTASK_BIT_1);

        // Delay a while more, then set next event group bit
        vTaskDelay(pdMS_TO_TICKS(1000));
        xEventGroupSetBits(xEventGroup, mainTASK_BIT_2);
    }
    /* USER CODE END 5 */
}

void StartTask02(void const *argument) {
    /* USER CODE BEGIN StartTask02 */
    /* Infinite loop */
    for (;;) {

        // wait for all three bits to be set
        xEventGroupWaitBits(xEventGroup,
        mainISR_BIT | mainTASK_BIT_1 | mainTASK_BIT_2,
        pdTRUE,
        pdTRUE,
        portMAX_DELAY);

        // turn LED on
        HAL_GPIO_WritePin(LED2_GPIO_Port, LED2_Pin, 1);

        vTaskDelay(pdMS_TO_TICKS(1000));

        HAL_GPIO_WritePin(LED2_GPIO_Port, LED2_Pin, 0);

        vTaskDelay(pdMS_TO_TICKS(1000));
    }
    /* USER CODE END StartTask02 */
}

void HAL_TIM_PeriodElapsedCallback(TIM_HandleTypeDef *htim) {
    if (htim->Instance == TIM1) {
        HAL_IncTick();
    }
}

void Error_Handler(void) {
    __disable_irq();
    while (1) {
    }
}

/************************ (C) COPYRIGHT STMicroelectronics *****END OF FILE****/
